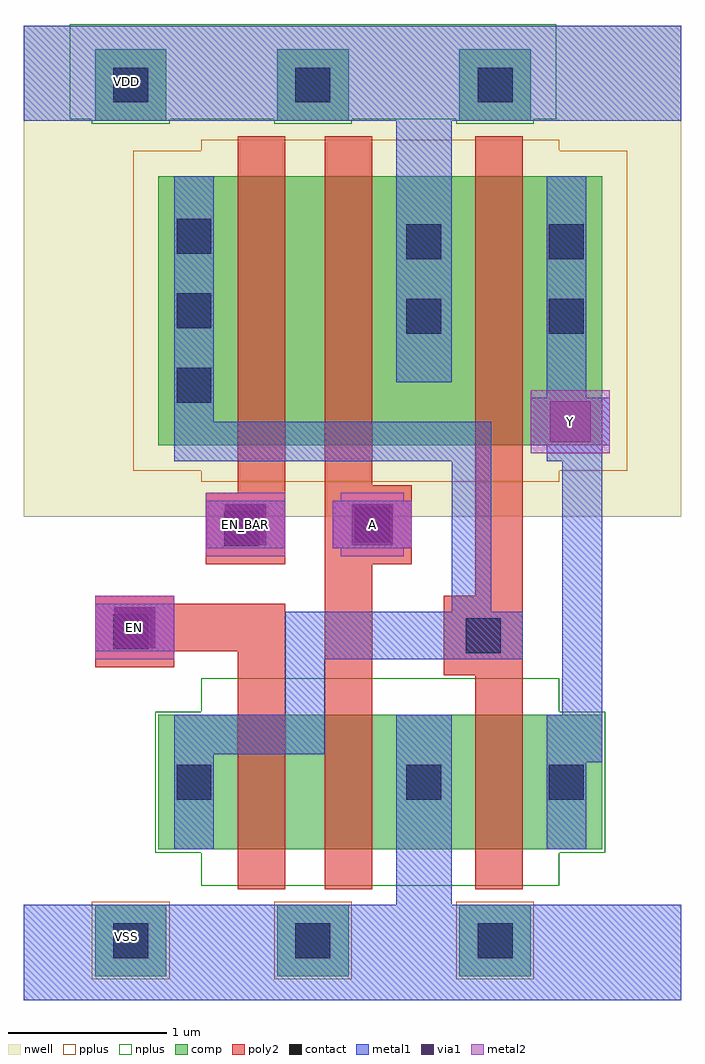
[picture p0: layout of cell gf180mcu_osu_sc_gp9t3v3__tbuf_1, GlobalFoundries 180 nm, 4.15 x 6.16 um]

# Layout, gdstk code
import gdstk
lib = gdstk.Library(unit=1e-6, precision=1e-09)
def R(c, l, rs):  # rectangles x0, y0, x1, y1
    for r in rs: c.add(gdstk.rectangle(r[:2], r[2:], *l))
def A(c, l, x, y, w, h, nx, ny, dx, dy):  # array of equal rectangles
    R(c, l, [(x+i*dx, y+j*dy, x+i*dx+w, y+j*dy+h) for i in range(nx) for j in range(ny)])
nwell = (21, 0)
comp = (22, 0)
poly2 = (30, 0)
pplus = (31, 0)
nplus = (32, 0)
contact = (33, 0)
metal1 = (34, 0)
via1 = (35, 0)
metal2 = (36, 0)

gf180mcu_osu_sc_gp9t3v3_ = lib.new_cell('gf180mcu_osu_sc_gp9t3v3__tbuf_1')
R(gf180mcu_osu_sc_gp9t3v3_, nwell, [(0,3.05,4.15,6.15)])
A(gf180mcu_osu_sc_gp9t3v3_, comp, 0.45, 0.15, 0.45, 0.45, 3, 2, 1.15, 5.4)
R(gf180mcu_osu_sc_gp9t3v3_, comp, [(0.85,0.95,3.65,1.8), (0.85,3.5,3.65,5.2)])
R(gf180mcu_osu_sc_gp9t3v3_, poly2, [(1.35,0.7,1.65,2.2), (1.9,0.7,2.2,2.75), (2.85,0.7,3.15,2.05), (2.65,2.05,3.15,2.55), (0.45,2.1,0.95,2.2), (0.45,2.2,1.65,2.5), (0.45,2.5,0.95,2.55), (2.85,2.55,3.15,5.45), (1.15,2.75,1.65,3.2), (1.9,2.75,2.45,3.25), (1.35,3.2,1.65,5.45), (1.9,3.25,2.2,5.45)])
A(gf180mcu_osu_sc_gp9t3v3_, pplus, 0.43, 0.13, 0.49, 0.49, 3, 1, 1.15, 0)
R(gf180mcu_osu_sc_gp9t3v3_, pplus, [(1.12,3.27,3.38,3.34), (0.69,3.34,3.81,5.36), (1.12,5.36,3.38,5.43)])
A(gf180mcu_osu_sc_gp9t3v3_, nplus, 0.43, 5.53, 0.49, 0.03, 3, 1, 1.15, 0)
R(gf180mcu_osu_sc_gp9t3v3_, nplus, [(1.12,0.72,3.38,0.93), (0.83,0.93,3.67,1.82), (1.12,1.82,3.38,2.03), (0.29,5.56,3.36,6.16)])
A(gf180mcu_osu_sc_gp9t3v3_, contact, 0.565, 0.265, 0.22, 0.22, 3, 2, 1.15, 5.4)
A(gf180mcu_osu_sc_gp9t3v3_, contact, 0.965, 3.77, 0.22, 0.22, 1, 3, 0, 0.47)
R(gf180mcu_osu_sc_gp9t3v3_, contact, [(0.965,1.265,1.185,1.485), (2.415,1.265,2.635,1.485), (3.315,1.265,3.535,1.485), (2.79,2.19,3.01,2.41), (0.565,2.215,0.785,2.435), (1.265,2.865,1.485,3.085), (2.09,2.89,2.31,3.11), (2.415,4.205,2.635,4.425), (3.315,4.205,3.535,4.425), (2.415,4.675,2.635,4.895), (3.315,4.675,3.535,4.895)])
R(gf180mcu_osu_sc_gp9t3v3_, metal1, [(0,0,4.15,0.6), (2.35,0.6,2.7,1.8), (0.95,0.95,1.2,1.55), (3.3,0.95,3.55,1.5), (3.3,1.5,3.65,1.8), (0.95,1.55,1.9,1.8), (1.65,1.8,1.9,2.15), (3.4,1.8,3.65,3.4), (1.65,2.15,3.15,2.45), (0.45,2.2,0.95,2.5), (2.7,2.45,2.95,3.4), (1.15,2.85,1.65,3.15), (1.95,2.85,2.45,3.15), (0.95,3.4,2.95,3.65), (3.3,3.4,3.65,3.5), (3.2,3.5,3.7,3.8), (0.95,3.65,1.2,5.2), (3.3,3.8,3.55,5.2), (2.35,3.9,2.7,5.55), (0,5.55,4.15,6.15)])
R(gf180mcu_osu_sc_gp9t3v3_, via1, [(0.57,2.22,0.83,2.48), (1.27,2.87,1.53,3.13), (2.07,2.87,2.33,3.13), (3.32,3.52,3.58,3.78)])
R(gf180mcu_osu_sc_gp9t3v3_, metal2, [(0.45,2.15,0.95,2.55), (1.15,2.8,1.65,3.2), (2,2.8,2.4,2.85), (1.95,2.85,2.45,3.15), (2,3.15,2.4,3.2), (3.2,3.45,3.7,3.85)])
gf180mcu_osu_sc_gp9t3v3_.add(gdstk.Label('VDD', (0.65,5.8), layer=34, texttype=0))
gf180mcu_osu_sc_gp9t3v3_.add(gdstk.Label('VSS', (0.65,0.4), layer=34, texttype=0))
gf180mcu_osu_sc_gp9t3v3_.add(gdstk.Label('A', (2.2,3), layer=36, texttype=10))
gf180mcu_osu_sc_gp9t3v3_.add(gdstk.Label('Y', (3.45,3.65), layer=36, texttype=10))
gf180mcu_osu_sc_gp9t3v3_.add(gdstk.Label('EN', (0.7,2.35), layer=36, texttype=10))
gf180mcu_osu_sc_gp9t3v3_.add(gdstk.Label('EN_BAR', (1.4,3), layer=36, texttype=10))

lib.write_gds('gf180mcu_osu_sc_gp9t3v3__tbuf_1.gds')
